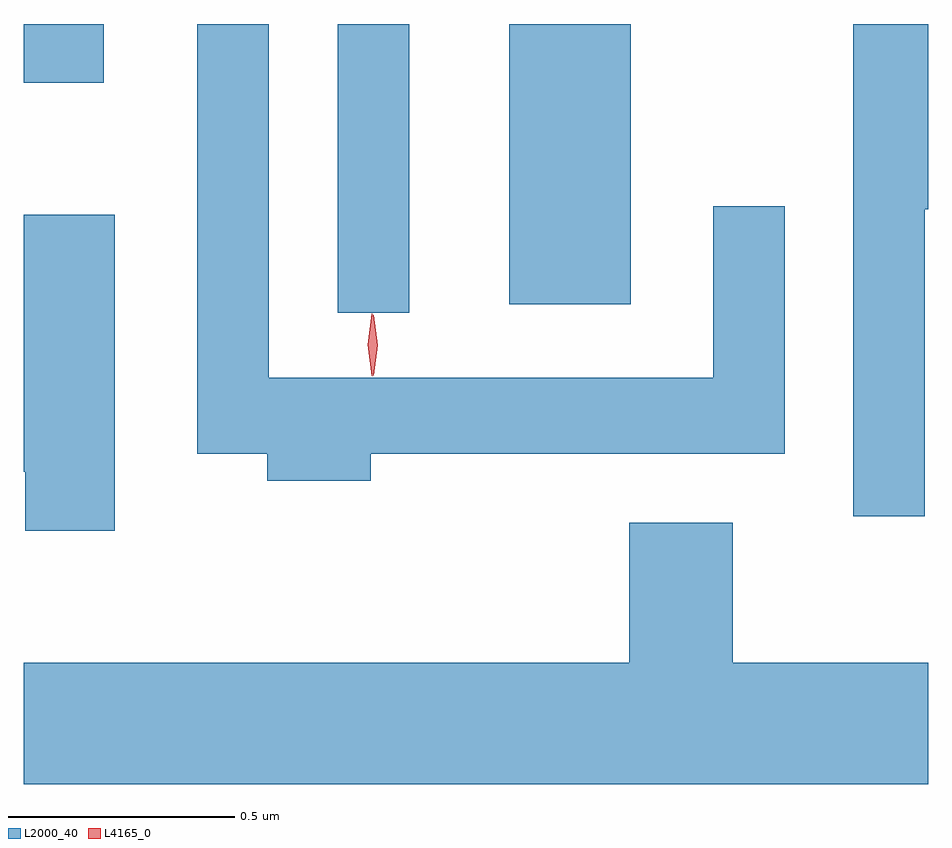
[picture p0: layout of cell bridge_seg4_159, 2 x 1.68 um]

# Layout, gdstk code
import gdstk
lib = gdstk.Library(unit=1e-6, precision=1e-09)
def R(c, l, rs):  # rectangles x0, y0, x1, y1
    for r in rs: c.add(gdstk.rectangle(r[:2], r[2:], *l))
def P(c, l, *ps):  # polygons
    for p in ps: c.add(gdstk.Polygon(p, *l))
L2000_40 = (2000, 40)
L4165_0 = (4165, 0)

bridge_seg4_159 = lib.new_cell('bridge_seg4_159')
R(bridge_seg4_159, L2000_40, [(869.776,1260.258,869.934,1260.896), (870.156,1260.276,870.424,1260.896), (869.082,1260.766,869.259,1260.896)])
P(bridge_seg4_159, L2000_40, [(869.849,1259.946),(870.764,1259.946),(870.764,1260.493),(870.606,1260.493),(870.606,1260.114),(869.624,1260.114),(869.624,1260.896),(869.466,1260.896),(869.466,1259.946),(869.621,1259.946),(869.621,1259.886),(869.849,1259.886)],
  [(871.074,1260.486),(871.082,1260.486),(871.082,1260.896),(870.916,1260.896),(870.916,1259.808),(871.074,1259.808)],
  [(869.284,1260.474),(869.082,1260.474),(869.082,1259.906),(869.086,1259.906),(869.086,1259.776),(869.284,1259.776)],
  [(871.082,1259.484),(870.649,1259.484),(870.649,1259.794),(870.421,1259.794),(870.421,1259.484),(869.082,1259.484),(869.082,1259.216),(871.082,1259.216)])
P(bridge_seg4_159, L4165_0, [(869.855,1260.119),(869.855,1260.12),(869.845,1260.186),(869.855,1260.252),(869.855,1260.253),(869.856,1260.252),(869.865,1260.186),(869.856,1260.12)],
  [(869.853,1260.117),(869.852,1260.118),(869.843,1260.187),(869.852,1260.256),(869.853,1260.256),(869.853,1260.256),(869.863,1260.187),(869.853,1260.118)])

lib.write_gds('bridge_seg4_159.gds')
